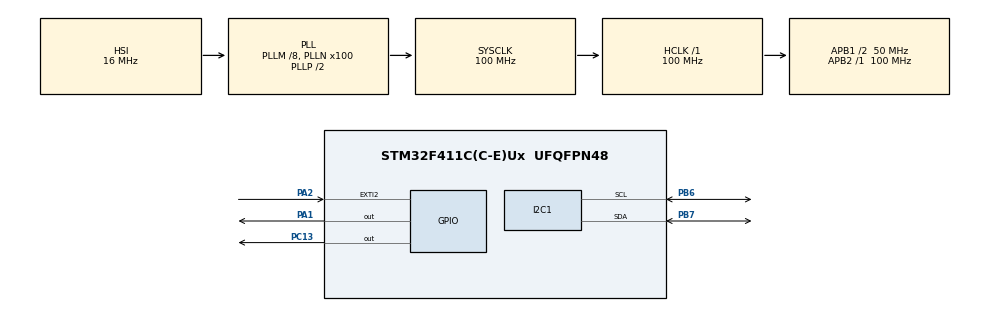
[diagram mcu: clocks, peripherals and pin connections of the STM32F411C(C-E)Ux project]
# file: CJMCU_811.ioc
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Mcu.Family=STM32F4
RCC.CortexFreq_Value=100000000
PH1\ -\ OSC_OUT.Mode=HSE-External-Oscillator
RCC.APB1CLKDivider=RCC_HCLK_DIV2
PC13-ANTI_TAMP.PinState=GPIO_PIN_SET
RCC.SYSCLKSource=RCC_SYSCLKSOURCE_PLLCLK
ProjectManager.StackSize=0x400
PA13.Signal=SYS_JTMS-SWDIO
PH0\ -\ OSC_IN.Mode=HSE-External-Oscillator
PH0\ -\ OSC_IN.Signal=RCC_OSC_IN
ProjectManager.TargetToolchain=STM32CubeIDE
RCC.HCLKFreq_Value=100000000
RCC.APB2TimFreq_Value=100000000
PB6.Signal=I2C1_SCL
PB6.Mode=I2C
RCC.LSE_VALUE=32768
PA1.Signal=GPIO_Output
RCC.AHBFreq_Value=100000000
RCC.HSE_VALUE=25000000
PH1\ -\ OSC_OUT.Signal=RCC_OSC_OUT
board=custom
PC13-ANTI_TAMP.Signal=GPIO_Output
RCC.VCOOutputFreq_Value=200000000
RCC.APB2Freq_Value=100000000
PA14.Mode=Serial_Wire
PB7.Signal=I2C1_SDA
PA13.Mode=Serial_Wire
Mcu.Name=STM32F411C(C-E)Ux
PA2.Signal=GPXTI2
RCC.48MHZClocksFreq_Value=50000000
RCC.SYSCLKFreq_VALUE=100000000
Mcu.Package=UFQFPN48
PB7.Mode=I2C
PA14.Signal=SYS_JTCK-SWCLK
ProjectManager.HeapSize=0x200
RCC.HSI_VALUE=16000000
PA2.GPIO_ModeDefaultEXTI=GPIO_MODE_IT_FALLING
NVIC.PriorityGroup=NVIC_PRIORITYGROUP_4
NVIC.EXTI2_IRQn=true\:0\:0\:false\:false\:true\:true\:true
RCC.PLLM=8
RCC.PLLN=100
RCC.APB1TimFreq_Value=100000000
RCC.APB1Freq_Value=50000000

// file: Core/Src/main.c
/* USER CODE BEGIN Header */
/**
  ******************************************************************************
  * @file           : main.c
  * @brief          : Main program body
  ******************************************************************************
  * @attention
  *
  * <h2><center>&copy; Copyright (c) 2020 STMicroelectronics.
  * All rights reserved.</center></h2>
  *
  * This software component is licensed by ST under BSD 3-Clause license,
  * the "License"; You may not use this file except in compliance with the
  * License. You may obtain a copy of the License at:
  *                        opensource.org/licenses/BSD-3-Clause
  *
  ******************************************************************************
  */
/* USER CODE END Header */
#include "main.h"

/* USER CODE BEGIN Includes */
#include "cjmcu811.h"
#include "stdbool.h"
#include "stdio.h"
#include "LiquidCrystal.h"
#include "string.h"
/* USER CODE END Includes */

I2C_HandleTypeDef hi2c1;

/* USER CODE BEGIN PV */
int row=0;
int col=0;
bool ok=1;
uint16_t CO2;
uint16_t TVOC;
char Co2[30];
char Tvoc[30];
/* USER CODE END PV */

void SystemClock_Config(void);
static void MX_GPIO_Init(void);
static void MX_I2C1_Init(void);
/* USER CODE BEGIN PFP */
void HAL_GPIO_EXTI_Callback(uint16_t GPIO_Pin)
{
    if(GPIO_Pin == GPIO_PIN_2) // If The INT Source Is EXTI Line9 (A9 Pin)
    {
        HAL_GPIO_TogglePin(GPIOC, GPIO_PIN_13); // Toggle The Output (LED) Pin
    }
}
/* USER CODE END PFP */

int main(void)
{

  /* MCU Configuration--------------------------------------------------------*/

  /* Reset of all peripherals, Initializes the Flash interface and the Systick. */
  HAL_Init();

  /* Configure the system clock */
  SystemClock_Config();

  /* Initialize all configured peripherals */
  MX_GPIO_Init();
  MX_I2C1_Init();
  /* USER CODE BEGIN 2 */
    cjmcu811_init(&hi2c1);
//    lcd16x2_i2c_init(&hi2c1);
  /* USER CODE END 2 */

  /* Infinite loop */
    while (1) {

    /* USER CODE BEGIN 3 */
        cjmcu811_ReadAlgorithmData(&hi2c1, &CO2, &TVOC);

    }
  /* USER CODE END 3 */
}

void SystemClock_Config(void)
{
  RCC_OscInitTypeDef RCC_OscInitStruct = {0};
  RCC_ClkInitTypeDef RCC_ClkInitStruct = {0};

  /** Configure the main internal regulator output voltage
  */
  __HAL_RCC_PWR_CLK_ENABLE();
  __HAL_PWR_VOLTAGESCALING_CONFIG(PWR_REGULATOR_VOLTAGE_SCALE1);
  /** Initializes the RCC Oscillators according to the specified parameters
  * in the RCC_OscInitTypeDef structure.
  */
  RCC_OscInitStruct.OscillatorType = RCC_OSCILLATORTYPE_HSI;
  RCC_OscInitStruct.HSIState = RCC_HSI_ON;
  RCC_OscInitStruct.HSICalibrationValue = RCC_HSICALIBRATION_DEFAULT;
  RCC_OscInitStruct.PLL.PLLState = RCC_PLL_ON;
  RCC_OscInitStruct.PLL.PLLSource = RCC_PLLSOURCE_HSI;
  RCC_OscInitStruct.PLL.PLLM = 8;
  RCC_OscInitStruct.PLL.PLLN = 100;
  RCC_OscInitStruct.PLL.PLLP = RCC_PLLP_DIV2;
  RCC_OscInitStruct.PLL.PLLQ = 4;
  if (HAL_RCC_OscConfig(&RCC_OscInitStruct) != HAL_OK)
  {
    Error_Handler();
  }
  /** Initializes the CPU, AHB and APB buses clocks
  */
  RCC_ClkInitStruct.ClockType = RCC_CLOCKTYPE_HCLK|RCC_CLOCKTYPE_SYSCLK
                              |RCC_CLOCKTYPE_PCLK1|RCC_CLOCKTYPE_PCLK2;
  RCC_ClkInitStruct.SYSCLKSource = RCC_SYSCLKSOURCE_PLLCLK;
  RCC_ClkInitStruct.AHBCLKDivider = RCC_SYSCLK_DIV1;
  RCC_ClkInitStruct.APB1CLKDivider = RCC_HCLK_DIV2;
  RCC_ClkInitStruct.APB2CLKDivider = RCC_HCLK_DIV1;

  if (HAL_RCC_ClockConfig(&RCC_ClkInitStruct, FLASH_LATENCY_3) != HAL_OK)
  {
    Error_Handler();
  }
}

static void MX_I2C1_Init(void)
{

  hi2c1.Instance = I2C1;
  hi2c1.Init.ClockSpeed = 100000;
  hi2c1.Init.DutyCycle = I2C_DUTYCYCLE_2;
  hi2c1.Init.OwnAddress1 = 0;
  hi2c1.Init.AddressingMode = I2C_ADDRESSINGMODE_7BIT;
  hi2c1.Init.DualAddressMode = I2C_DUALADDRESS_DISABLE;
  hi2c1.Init.OwnAddress2 = 0;
  hi2c1.Init.GeneralCallMode = I2C_GENERALCALL_DISABLE;
  hi2c1.Init.NoStretchMode = I2C_NOSTRETCH_DISABLE;
  if (HAL_I2C_Init(&hi2c1) != HAL_OK)
  {
    Error_Handler();
  }

}

static void MX_GPIO_Init(void)
{
  GPIO_InitTypeDef GPIO_InitStruct = {0};

  /* GPIO Ports Clock Enable */
  __HAL_RCC_GPIOC_CLK_ENABLE();
  __HAL_RCC_GPIOH_CLK_ENABLE();
  __HAL_RCC_GPIOA_CLK_ENABLE();
  __HAL_RCC_GPIOB_CLK_ENABLE();

  /*Configure GPIO pin Output Level */
  HAL_GPIO_WritePin(GPIOC, GPIO_PIN_13, GPIO_PIN_SET);

  /*Configure GPIO pin Output Level */
  HAL_GPIO_WritePin(GPIOA, GPIO_PIN_1, GPIO_PIN_RESET);

  /*Configure GPIO pin : PC13 */
  GPIO_InitStruct.Pin = GPIO_PIN_13;
  GPIO_InitStruct.Mode = GPIO_MODE_OUTPUT_PP;
  GPIO_InitStruct.Pull = GPIO_NOPULL;
  GPIO_InitStruct.Speed = GPIO_SPEED_FREQ_LOW;
  HAL_GPIO_Init(GPIOC, &GPIO_InitStruct);

  /*Configure GPIO pin : PA1 */
  GPIO_InitStruct.Pin = GPIO_PIN_1;
  GPIO_InitStruct.Mode = GPIO_MODE_OUTPUT_PP;
  GPIO_InitStruct.Pull = GPIO_NOPULL;
  GPIO_InitStruct.Speed = GPIO_SPEED_FREQ_LOW;
  HAL_GPIO_Init(GPIOA, &GPIO_InitStruct);

  /*Configure GPIO pin : PA2 */
  GPIO_InitStruct.Pin = GPIO_PIN_2;
  GPIO_InitStruct.Mode = GPIO_MODE_IT_FALLING;
  GPIO_InitStruct.Pull = GPIO_NOPULL;
  HAL_GPIO_Init(GPIOA, &GPIO_InitStruct);

  /* EXTI interrupt init*/
  HAL_NVIC_SetPriority(EXTI2_IRQn, 0, 0);
  HAL_NVIC_EnableIRQ(EXTI2_IRQn);

}

void Error_Handler(void)
{
}

/************************ (C) COPYRIGHT STMicroelectronics *****END OF FILE****/
